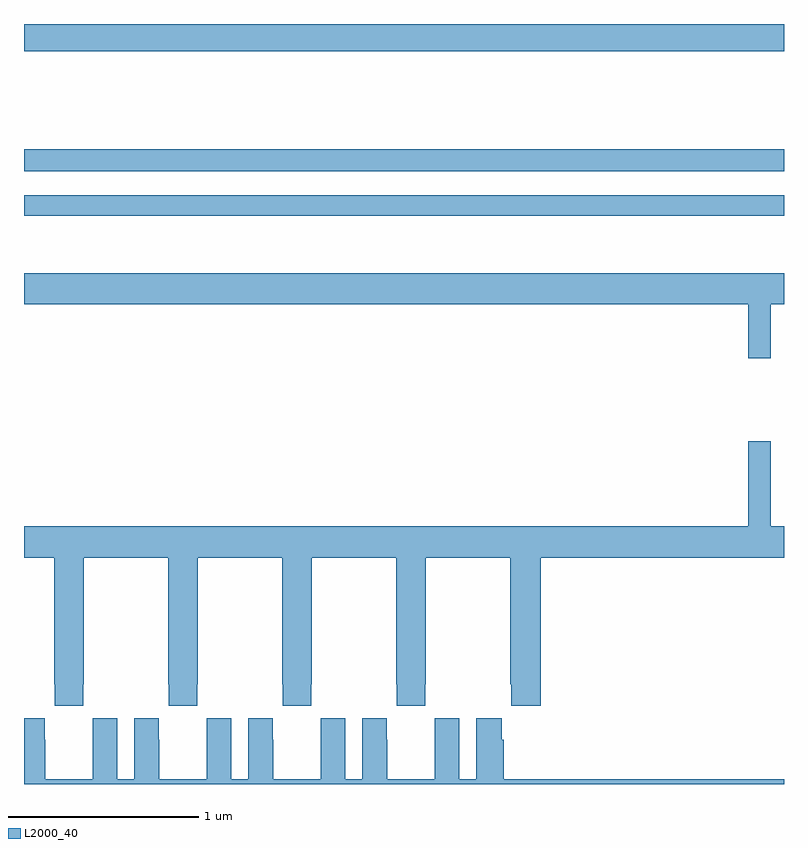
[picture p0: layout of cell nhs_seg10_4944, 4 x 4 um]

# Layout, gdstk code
import gdstk
lib = gdstk.Library(unit=1e-6, precision=1e-09)
def R(c, l, rs):  # rectangles x0, y0, x1, y1
    for r in rs: c.add(gdstk.rectangle(r[:2], r[2:], *l))
def P(c, l, *ps):  # polygons
    for p in ps: c.add(gdstk.Polygon(p, *l))
L2000_40 = (2000, 40)

nhs_seg10_4944 = lib.new_cell('nhs_seg10_4944')
R(nhs_seg10_4944, L2000_40, [(397,1259.49,401,1259.598), (397,1259.724,401,1259.84), (397,1260.356,401,1260.5)])
P(nhs_seg10_4944, L2000_40, [(400.93,1259.024),(401,1259.024),(401,1259.188),(397,1259.188),(397,1259.024),(400.813,1259.024),(400.813,1258.74),(400.93,1258.74)],
  [(397.311,1257.025),(397.314,1257.025),(397.314,1257.692),(397.759,1257.692),(397.759,1257.025),(397.761,1257.025),(397.761,1256.913),(397.911,1256.913),(397.911,1257.025),(397.914,1257.025),(397.914,1257.692),(398.359,1257.692),(398.359,1257.025),(398.361,1257.025),(398.361,1256.913),(398.511,1256.913),(398.511,1257.025),(398.514,1257.025),(398.514,1257.692),(398.959,1257.692),(398.959,1257.025),(398.961,1257.025),(398.961,1256.913),(399.111,1256.913),(399.111,1257.025),(399.114,1257.025),(399.114,1257.692),(399.559,1257.692),(399.559,1257.025),(399.565,1257.025),(399.565,1256.913),(399.719,1256.913),(399.719,1257.692),(401,1257.692),(401,1257.856),(400.93,1257.856),(400.93,1258.303),(400.813,1258.303),(400.813,1257.856),(397,1257.856),(397,1257.692),(397.159,1257.692),(397.159,1257.025),(397.161,1257.025),(397.161,1256.913),(397.311,1256.913)],
  [(401,1256.524),(399.524,1256.524),(399.524,1256.732),(399.514,1256.732),(399.514,1256.845),(399.38,1256.845),(399.38,1256.524),(399.292,1256.524),(399.292,1256.845),(399.162,1256.845),(399.162,1256.732),(399.161,1256.732),(399.161,1256.524),(398.911,1256.524),(398.911,1256.732),(398.91,1256.732),(398.91,1256.845),(398.78,1256.845),(398.78,1256.524),(398.692,1256.524),(398.692,1256.845),(398.562,1256.845),(398.562,1256.732),(398.561,1256.732),(398.561,1256.524),(398.311,1256.524),(398.311,1256.732),(398.31,1256.732),(398.31,1256.845),(398.18,1256.845),(398.18,1256.524),(398.092,1256.524),(398.092,1256.845),(397.962,1256.845),(397.962,1256.732),(397.961,1256.732),(397.961,1256.524),(397.711,1256.524),(397.711,1256.732),(397.71,1256.732),(397.71,1256.845),(397.58,1256.845),(397.58,1256.524),(397.492,1256.524),(397.492,1256.845),(397.362,1256.845),(397.362,1256.732),(397.361,1256.732),(397.361,1256.524),(397.111,1256.524),(397.111,1256.732),(397.11,1256.732),(397.11,1256.845),(397,1256.845),(397,1256.5),(401,1256.5)])

lib.write_gds('nhs_seg10_4944.gds')
